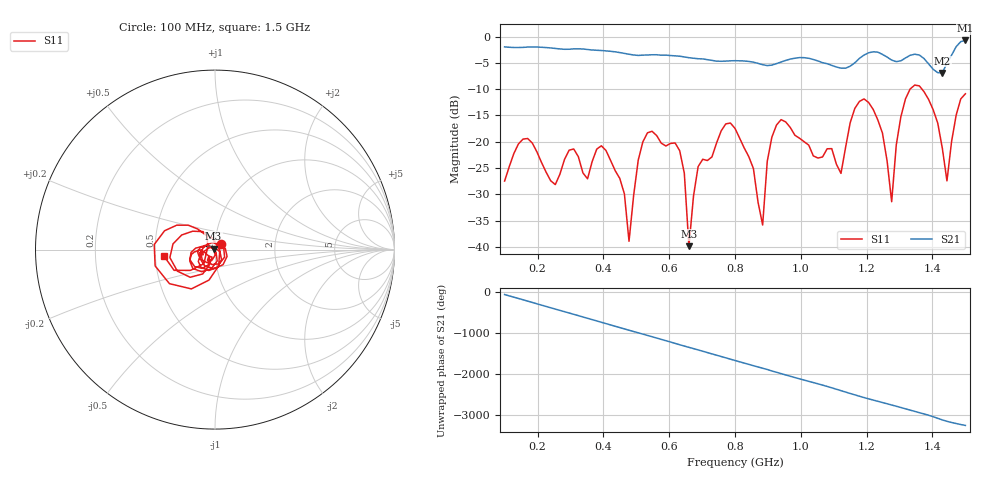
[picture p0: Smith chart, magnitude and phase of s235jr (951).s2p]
! NanoVNA-App
! Date: 2025-09-25 15:11:34
! Start: 100MHz Stop: 1,5GHz Points: 101
! S-Parameter data: F S11 S21 S12 S22
# Hz S RI R 50
!  Frequency  S11_Real  S11_Imag  S21_Real  S21_Imag  S12_Real  S12_Imag  S22_Real  S22_Imag
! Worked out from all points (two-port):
!   101 points, 100 MHz to 1.5 GHz, reference 50 ohm
!   highest |S21| = -0.74 dB at 1.5 GHz (marker M1); lowest = -6.9 dB at 1.43 GHz (marker M2)
!   |S21| within 3 dB of the highest: start of sweep to 632.3 MHz; 1.187 GHz to 1.258 GHz (70.57 MHz wide, 5.77 % of centre)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
!   lowest |S11| = -39.9 dB at 660 MHz (marker M3), VSWR 1.02, Z = 49.2 + j0.598 ohm
!   |S11| at or under -10 dB: start of sweep to 1.332 GHz; 1.368 GHz to end of sweep
!   S12 and S22 are empty: the file has one direction only
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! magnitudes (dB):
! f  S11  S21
! 100 MHz  -27.5  -2.0
! 170 MHz  -19.4  -2.0
! 338 MHz  -25.9  -2.4
! 408 MHz  -21.7  -2.7
! 478 MHz  -38.9  -3.4
! 520 MHz  -20.0  -3.5
! 576 MHz  -20.3  -3.5
! 632 MHz  -21.7  -3.7
! 660 MHz  -39.9  -4.0
! 688 MHz  -24.7  -4.2
! 800 MHz  -17.5  -4.6
! 884 MHz  -35.8  -5.4
! 926 MHz  -16.8  -5.1
! 1.038 GHz  -22.7  -4.4
! 1.122 GHz  -26.0  -6.0
! 1.192 GHz  -11.9  -3.5
! 1.248 GHz  -18.4  -3.4
! 1.276 GHz  -31.4  -4.5
! 1.332 GHz  -10.0  -3.6
! 1.43 GHz  -21.3  -6.9
! 1.444 GHz  -27.4  -5.0
! 1.5 GHz  -10.9  -0.7
